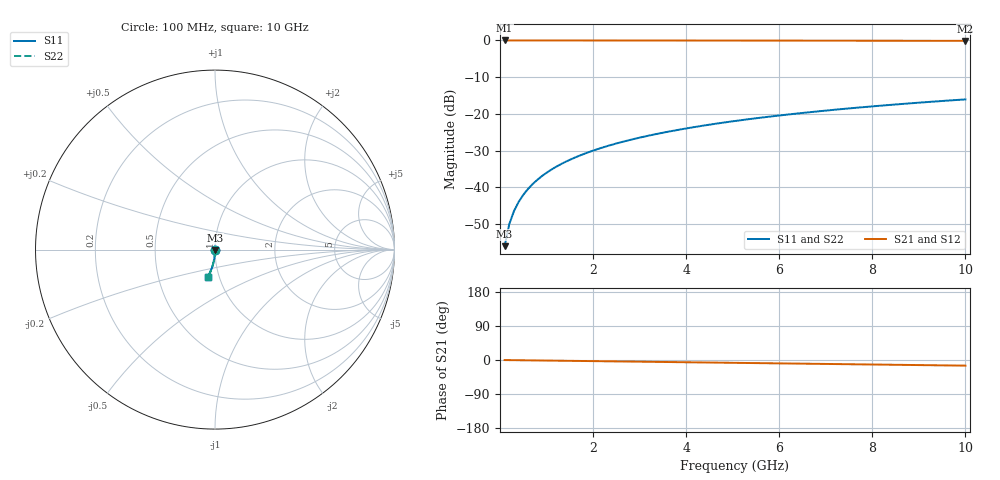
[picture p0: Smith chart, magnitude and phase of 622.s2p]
# Hz S RI R 50.00
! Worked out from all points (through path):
!   100 points, 100 MHz to 10 GHz, reference 50 ohm
!   highest |S21| = 0.00 dB at 100 MHz (marker M1); lowest = -0.1 dB at 10 GHz (marker M2)
!   group delay of S21, straight-line fit = 4.14 ps
!   lowest |S11| = -56.0 dB at 100 MHz (marker M3), VSWR 1.00, Z = 50 - j0.158 ohm
!   |S11| at or under -10 dB: start of sweep to end of sweep
!   |S22| runs from -56.0 to -16.0 dB; largest |S21 - S12| = 0
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1e8  0.000143 -0.00158  0.9998 -0.00257  0.9998 -0.00257  0.000143 -0.00158
2e8  0.00013 -0.00316  0.9998 -0.00515  0.9998 -0.00515  0.00013 -0.00316
3e8  0.000109 -0.00474  0.9998 -0.00772  0.9998 -0.00772  0.000109 -0.00474
4e8  7.86e-05 -0.00633  0.9998 -0.0103  0.9998 -0.0103  7.86e-05 -0.00633
5e8  4.05e-05 -0.00791  0.9997 -0.0129  0.9997 -0.0129  4.05e-05 -0.00791
6e8  -5.87e-06 -0.00949  0.9997 -0.0154  0.9997 -0.0154  -5.87e-06 -0.00949
7e8  -6.04e-05 -0.0111  0.9996 -0.018  0.9996 -0.018  -6.04e-05 -0.0111
8e8  -0.000123 -0.0127  0.9995 -0.0206  0.9995 -0.0206  -0.000123 -0.0127
9e8  -0.000194 -0.0142  0.9995 -0.0232  0.9995 -0.0232  -0.000194 -0.0142
1.1e9  -0.000361 -0.0174  0.9993 -0.0283  0.9993 -0.0283  -0.000361 -0.0174
1.4e9  -0.000672 -0.0222  0.9989 -0.036  0.9989 -0.036  -0.000672 -0.0222
1.8e9  -0.0012 -0.0285  0.9983 -0.0463  0.9983 -0.0463  -0.0012 -0.0285
2.1e9  -0.00169 -0.0332  0.9978 -0.0541  0.9978 -0.0541  -0.00169 -0.0332
2.5e9  -0.00245 -0.0395  0.9969 -0.0644  0.9969 -0.0644  -0.00245 -0.0395
2.9e9  -0.00334 -0.0459  0.9959 -0.0747  0.9959 -0.0747  -0.00334 -0.0459
3.4e9  -0.00464 -0.0537  0.9945 -0.0876  0.9945 -0.0876  -0.00464 -0.0537
4.2e9  -0.00715 -0.0663  0.9917 -0.1081  0.9917 -0.1081  -0.00715 -0.0663
5.1e9  -0.0106 -0.0803  0.9878 -0.1312  0.9878 -0.1312  -0.0106 -0.0803
5.9e9  -0.0142 -0.0926  0.9837 -0.1515  0.9837 -0.1515  -0.0142 -0.0926
6.7e9  -0.0183 -0.1047  0.9791 -0.1718  0.9791 -0.1718  -0.0183 -0.1047
8.4e9  -0.0288 -0.1298  0.9673 -0.2143  0.9673 -0.2143  -0.0288 -0.1298
1e10  -0.0405 -0.1525  0.954 -0.2535  0.954 -0.2535  -0.0405 -0.1525
